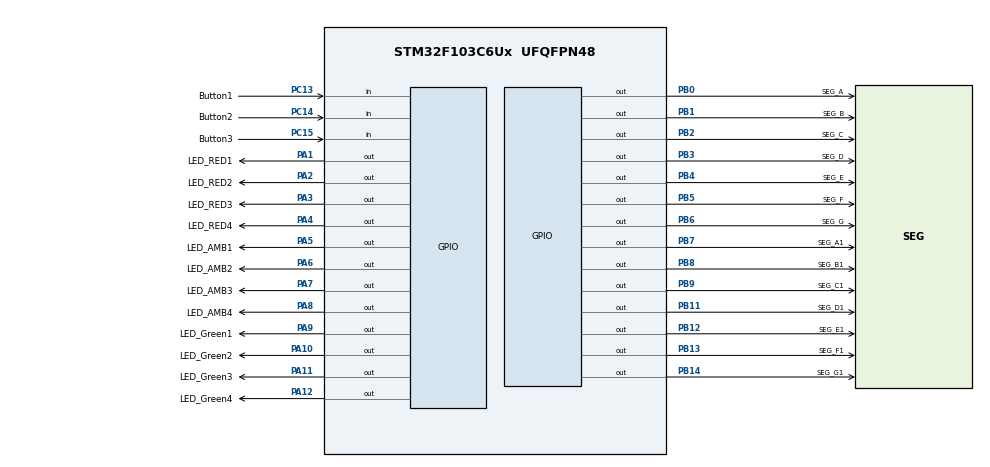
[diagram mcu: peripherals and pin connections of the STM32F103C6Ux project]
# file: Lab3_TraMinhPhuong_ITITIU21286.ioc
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Mcu.Family=STM32F1
Mcu.Name=STM32F103C6Ux
Mcu.Package=UFQFPN48
NVIC.PriorityGroup=NVIC_PRIORITYGROUP_4
NVIC.TIM2_IRQn=true\:0\:0\:false\:false\:true\:true\:true\:true
PA1.GPIO_Label=LED_RED1
PA1.Signal=GPIO_Output
PA10.GPIO_Label=LED_Green2
PA10.Signal=GPIO_Output
PA11.GPIO_Label=LED_Green3
PA11.Signal=GPIO_Output
PA12.GPIO_Label=LED_Green4
PA12.Signal=GPIO_Output
PA2.GPIO_Label=LED_RED2
PA2.Signal=GPIO_Output
PA3.GPIO_Label=LED_RED3
PA3.Signal=GPIO_Output
PA4.GPIO_Label=LED_RED4
PA4.Signal=GPIO_Output
PA5.GPIO_Label=LED_AMB1
PA5.Signal=GPIO_Output
PA6.GPIO_Label=LED_AMB2
PA6.Signal=GPIO_Output
PA7.GPIO_Label=LED_AMB3
PA7.Signal=GPIO_Output
PA8.GPIO_Label=LED_AMB4
PA8.Signal=GPIO_Output
PA9.GPIO_Label=LED_Green1
PA9.Signal=GPIO_Output
PB0.GPIO_Label=SEG_A
PB0.Signal=GPIO_Output
PB1.GPIO_Label=SEG_B
PB1.Signal=GPIO_Output
PB11.GPIO_Label=SEG_D1
PB11.Signal=GPIO_Output
PB12.GPIO_Label=SEG_E1
PB12.Signal=GPIO_Output
PB13.GPIO_Label=SEG_F1
PB13.Signal=GPIO_Output
PB14.GPIO_Label=SEG_G1
PB14.Signal=GPIO_Output
PB2.GPIO_Label=SEG_C
PB2.Signal=GPIO_Output
PB3.GPIO_Label=SEG_D
PB3.Signal=GPIO_Output
PB4.GPIO_Label=SEG_E
PB4.Signal=GPIO_Output
PB5.GPIO_Label=SEG_F
PB5.Signal=GPIO_Output
PB6.GPIO_Label=SEG_G
PB6.Signal=GPIO_Output
PB7.GPIO_Label=SEG_A1
PB7.Signal=GPIO_Output
PB8.GPIO_Label=SEG_B1
PB8.Signal=GPIO_Output
PB9.GPIO_Label=SEG_C1
PB9.Signal=GPIO_Output
PC13-TAMPER-RTC.GPIO_Label=Button1
PC13-TAMPER-RTC.GPIO_PuPd=GPIO_PULLUP
PC13-TAMPER-RTC.Signal=GPIO_Input
PC14-OSC32_IN.GPIO_Label=Button2
PC14-OSC32_IN.GPIO_PuPd=GPIO_PULLUP
PC14-OSC32_IN.Signal=GPIO_Input
PC15-OSC32_OUT.GPIO_Label=Button3
PC15-OSC32_OUT.GPIO_PuPd=GPIO_PULLUP
PC15-OSC32_OUT.Signal=GPIO_Input
ProjectManager.HeapSize=0x200
ProjectManager.StackSize=0x400
ProjectManager.TargetToolchain=STM32CubeIDE
RCC.APB1Freq_Value=8000000
RCC.APB2Freq_Value=8000000
TIM2.Period=9
TIM2.Prescaler=7999
VP_SYS_VS_ND.Mode=No_Debug
VP_TIM2_VS_ClockSourceINT.Mode=Internal
board=custom

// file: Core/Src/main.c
/* USER CODE BEGIN Header */
/**
  ******************************************************************************
  * @file           : main.c
  * @brief          : Main program body
  ******************************************************************************
  * @attention
  *
  * Copyright (c) 2024 STMicroelectronics.
  * All rights reserved.
  *
  * This software is licensed under terms that can be found in the LICENSE file
  * in the root directory of this software component.
  * If no LICENSE file comes with this software, it is provided AS-IS.
  *
  ******************************************************************************
  */
/* USER CODE END Header */
#include "main.h"

/* USER CODE BEGIN Includes */
#include "software_timer.h"
#include "Button.h"
/* USER CODE END Includes */

TIM_HandleTypeDef htim2;

void SystemClock_Config(void);
static void MX_GPIO_Init(void);
static void MX_TIM2_Init(void);
/* USER CODE BEGIN PFP */
const int digitConfig[][7] = {
        // A, B, C, D, E, F, G, DP
        {1, 1, 1, 1, 1, 1, 0}, // 0
        {0, 1, 1, 0, 0, 0, 0}, // 1
        {1, 1, 0, 1, 1, 0, 1}, // 2
        {1, 1, 1, 1, 0, 0, 1}, // 3
        {0, 1, 1, 0, 0, 1, 1}, // 4
        {1, 0, 1, 1, 0, 1, 1}, // 5
        {1, 0, 1, 1, 1, 1, 1}, // 6
        {1, 1, 1, 0, 0, 0, 0}, // 7
        {1, 1, 1, 1, 1, 1, 1}, // 8
        {1, 1, 1, 1, 0, 1, 1}  // 9
    };
typedef enum
{
  STATE_1,
  STATE_2,
  STATE_3,
  STATE_4
} TrafficLightState;
int state_7SEG = 0;
int state2_7SEG = 0;

/* USER CODE END PFP */

int main(void)
{

  /* MCU Configuration--------------------------------------------------------*/

  /* Reset of all peripherals, Initializes the Flash interface and the Systick. */
  HAL_Init();

  /* Configure the system clock */
  SystemClock_Config();

  /* Initialize all configured peripherals */
  MX_GPIO_Init();
  MX_TIM2_Init();
  /* USER CODE BEGIN 2 */
  HAL_TIM_Base_Start_IT (& htim2 ) ;
  /* USER CODE END 2 */

  /* Infinite loop */
  /* USER CODE BEGIN WHILE */
  int count_StateButton1 = 0;
  int count = 0;
  int time_LEDRED = 5;
  int time_LEDAMB = 3;
  int time_LEDGREEN = 2;
  setTimer0(50);
  setTimer1(50);
  setTimer2(50);
  int GREEN_total = 0;
  int AMB_total = 0;
  int RED_total = 0;
  int state_GREEN = 0;
  int state_AMB = 0;
  int state_RED = 0;
  display7SEG1(0);
  display7SEG2(0);
  setAllLED();
  int counter = 0;
  int counter2 = 0;
  setTimer_RED(100);
  setTimerState(100);
  setTimerSwitch(50);
  TrafficLightState state = STATE_1;
  while (1)
  {
    /* USER CODE END WHILE */
	  if (button1_flag ==1) {
		  if( button1_flag != button1_flagRelease && button1_flagRelease == 0) {
			  count_StateButton1 ++;
			  setAllLED();
			  if(count_StateButton1 > 4) {
				  count_StateButton1 = 1;
			  }
		  }
		  state_7SEG = 0;
		  state2_7SEG = 0;
		  display7SEG1(count_StateButton1);
		  button1_flagRelease = button1_flag ;
		  button1_flag = 0 ;
		  count = 0;
		  if(count_StateButton1 == 1) {
			  counter = -1;
			  counter2 = -1;
		  }
	  }
	  if(count_StateButton1 == 1) {
		    switch (state)
		    {
		    case STATE_1:
		      if (counter <= 0 && counter2 <= 0)
		      {
		    	  setAllLED();
		        HAL_GPIO_WritePin(GPIOA, LED_Green1_Pin | LED_Green3_Pin | LED_RED2_Pin | LED_RED4_Pin, GPIO_PIN_RESET);
		        state = STATE_2;
		        counter2 = time_LEDGREEN;
		        counter = time_LEDRED;
		      }
		      break;

		    case STATE_2:
		      if (counter <= 0 || counter2 <= 0)
		      {
		    	  setAllLED();
		        HAL_GPIO_WritePin(GPIOA, LED_AMB1_Pin | LED_AMB3_Pin | LED_RED2_Pin | LED_RED4_Pin, GPIO_PIN_RESET);

		        state = STATE_3;
		        counter2 = time_LEDAMB;
		      }
		      break;

		    case STATE_3:
		      if (counter <= 0 && counter2 <= 0)
		      {
		    	  setAllLED();
		        HAL_GPIO_WritePin(GPIOA, LED_Green4_Pin | LED_Green2_Pin | LED_RED3_Pin | LED_RED1_Pin, GPIO_PIN_RESET);

		        state = STATE_4;
		        counter = time_LEDGREEN;
		        counter2 = time_LEDRED;
		      }
		      break;

		    case STATE_4:
		      if (counter2 <= 0 || counter <= 0)
		      {
		    	  setAllLED();
		        HAL_GPIO_WritePin(GPIOA, LED_AMB2_Pin | LED_AMB4_Pin | LED_RED3_Pin | LED_RED1_Pin, GPIO_PIN_RESET);

		        state = STATE_1;
		        counter = time_LEDAMB;
		      }
		      break;
		    }
		    display7SEG1(counter);
		    display7SEG2(counter2);

		    if(timerState_flag == 1){
			    counter--;
			    counter2--;
			    setTimerState(100);
		    }
		    if (counter < 0)
		    {
		      counter = 0;
		    }
		    if (counter2 < 0)
		    {
		      counter2 = 0;
		    }
	  }
	  if (count_StateButton1 == 2) {
	  	  	  if (timer0_flag == 1) {
	  	  			  HAL_GPIO_TogglePin(LED_RED1_GPIO_Port, LED_RED1_Pin) ;
	  	  			  HAL_GPIO_TogglePin(LED_RED2_GPIO_Port, LED_RED2_Pin) ;
	  	  			  HAL_GPIO_TogglePin(LED_RED3_GPIO_Port, LED_RED3_Pin) ;
	  	  			  HAL_GPIO_TogglePin(LED_RED4_GPIO_Port, LED_RED4_Pin) ;
	  	  			  setTimer0(50) ;
	  	  		  }
	  	  		  if (button2_flag == 1) {
	  	  			  button2_flag = 0;
	  	  			  count += 1;
	  	  			  state_RED = 0;
	  	  		  }
		  		  RED_total = time_LEDRED+ count ;
  		  		  if(RED_total >= 100) {
  		  			time_LEDRED = 0;
  		  			count = 0;
  		  		  }
		  			  if (RED_total > 9 && RED_total <= 99) {
		  				  if(timerRED_flag == 1){
	  		  				if(state_RED == 0){
	  		  				    display7SEG2(RED_total / 10);
	  		  				    state_RED = 1;
	  		  				}
	  		  				else{
							display7SEG2(RED_total % 10);
							state_RED = 0;
						}
	  		  			    setTimer_RED(50);
		  				  }
		  			  }
		  			  if(RED_total <= 9){
		  			       display7SEG2(RED_total) ;
		  			  }

	  	  		 if (button3_flag == 1) {
	  	  			  if( button3_flag != button3_flagRelease && button3_flagRelease == 0) {
	  	 	  			 time_LEDRED = time_LEDRED + count ;
	  	 	  			 count = 0;
	  	  			  }
	  	  			  button3_flagRelease = button3_flag ;
	  	  			  button3_flag = 0;
	  	  		 }
	  	  	  }
	  	  	 if (count_StateButton1 == 3) {
	  	  			  if (timer2_flag == 1) {
	  	  				  HAL_GPIO_TogglePin(LED_AMB1_GPIO_Port, LED_AMB1_Pin) ;
	  	  				  HAL_GPIO_TogglePin(LED_AMB2_GPIO_Port, LED_AMB2_Pin) ;
	  	  				  HAL_GPIO_TogglePin(LED_AMB3_GPIO_Port, LED_AMB3_Pin) ;
	  	  				  HAL_GPIO_TogglePin(LED_AMB4_GPIO_Port, LED_AMB4_Pin) ;
	  	  				  setTimer2(50) ;
	  	  			  }
	  		  		  if (button2_flag == 1) {
	  		  			  button2_flag = 0;
	  		  			  count += 1;
	  		  			  state_AMB == 0;
	  		  		  }
	  		  			  AMB_total = time_LEDAMB+ count ;
		  		  		  if(AMB_total >= 100) {
		  		  			time_LEDAMB = 0;
		  		  			count = 0;
		  		  		  }
	  		  			  if (AMB_total > 9 && AMB_total <= 99) {
	  		  				  if(timerAMB_flag == 1){
	  	  		  				if(state_AMB == 0){
	  	  		  				    display7SEG2(AMB_total / 10);
	  	  		  				    state_AMB = 1;
	  	  		  				}
	  	  		  				else{
									display7SEG2(AMB_total % 10);
									state_AMB = 0;
								}
	  	  		  			    setTimer_AMB(50);
	  		  				  }
	  		  			  }
	  		  			  if(AMB_total <= 9){
	  		  			       display7SEG2(AMB_total) ;
	  		  			  }

	  		  		 if (button3_flag == 1) {
	  		  			  if( button3_flag != button3_flagRelease && button3_flagRelease == 0) {
	  		 	  			 time_LEDAMB = time_LEDAMB + count ;
	  		 	  			 count = 0;
	  		  			  }
	  		  			  button3_flagRelease = button3_flag ;
	  		  			  button3_flag = 0;
	  		  		 }
	  	  		  }
	  	  	 if (count_StateButton1 == 4) {
	  	  			  if (timer1_flag == 1) {
	  	  				  HAL_GPIO_TogglePin(LED_Green1_GPIO_Port, LED_Green1_Pin) ;
	  	  				  HAL_GPIO_TogglePin(LED_Green2_GPIO_Port, LED_Green2_Pin) ;
	  	  				  HAL_GPIO_TogglePin(LED_Green3_GPIO_Port, LED_Green3_Pin) ;
	  	  				  HAL_GPIO_TogglePin(LED_Green4_GPIO_Port, LED_Green4_Pin) ;
	  	  				  setTimer1(50) ;
	  	  			  }
	  		  		  if (button2_flag == 1) {
	  		  			  button2_flag = 0;
	  		  			  count += 1;
	  		  			  state_GREEN == 0;
	  		  		  }
	  		  		  GREEN_total = time_LEDGREEN + count ;
	  		  		  if(GREEN_total >= 100) {
	  		  			time_LEDGREEN = 0;
	  		  			count = 0;
	  		  		  }
					  if(GREEN_total > 9 && GREEN_total <= 99) {
						  if(timerGREEN_flag == 1){
								if(state_GREEN == 0){
									display7SEG2(GREEN_total / 10);
									state_GREEN = 1;
								}
								else{
									display7SEG2(GREEN_total % 10);
									state_GREEN = 0;
								}
							setTimer_GREEN(50);
						  }
					  }
					  if(GREEN_total <= 9){
						   display7SEG2(GREEN_total) ;
					  }

			          if (button3_flag == 1) {
					       if( button3_flag != button3_flagRelease && button3_flagRelease == 0) {
						        time_LEDGREEN = time_LEDGREEN + count ;
						        count = 0;
					        }
					  button3_flagRelease = button3_flag ;
					  button3_flag = 0;
				 }
			  }
  }
}

void SystemClock_Config(void)
{
  RCC_OscInitTypeDef RCC_OscInitStruct = {0};
  RCC_ClkInitTypeDef RCC_ClkInitStruct = {0};

  /** Initializes the RCC Oscillators according to the specified parameters
  * in the RCC_OscInitTypeDef structure.
  */
  RCC_OscInitStruct.OscillatorType = RCC_OSCILLATORTYPE_HSI;
  RCC_OscInitStruct.HSIState = RCC_HSI_ON;
  RCC_OscInitStruct.HSICalibrationValue = RCC_HSICALIBRATION_DEFAULT;
  RCC_OscInitStruct.PLL.PLLState = RCC_PLL_NONE;
  if (HAL_RCC_OscConfig(&RCC_OscInitStruct) != HAL_OK)
  {
    Error_Handler();
  }

  /** Initializes the CPU, AHB and APB buses clocks
  */
  RCC_ClkInitStruct.ClockType = RCC_CLOCKTYPE_HCLK|RCC_CLOCKTYPE_SYSCLK
                              |RCC_CLOCKTYPE_PCLK1|RCC_CLOCKTYPE_PCLK2;
  RCC_ClkInitStruct.SYSCLKSource = RCC_SYSCLKSOURCE_HSI;
  RCC_ClkInitStruct.AHBCLKDivider = RCC_SYSCLK_DIV1;
  RCC_ClkInitStruct.APB1CLKDivider = RCC_HCLK_DIV1;
  RCC_ClkInitStruct.APB2CLKDivider = RCC_HCLK_DIV1;

  if (HAL_RCC_ClockConfig(&RCC_ClkInitStruct, FLASH_LATENCY_0) != HAL_OK)
  {
    Error_Handler();
  }
}

static void MX_TIM2_Init(void)
{

  TIM_ClockConfigTypeDef sClockSourceConfig = {0};
  TIM_MasterConfigTypeDef sMasterConfig = {0};

  htim2.Instance = TIM2;
  htim2.Init.Prescaler = 7999;
  htim2.Init.CounterMode = TIM_COUNTERMODE_UP;
  htim2.Init.Period = 9;
  htim2.Init.ClockDivision = TIM_CLOCKDIVISION_DIV1;
  htim2.Init.AutoReloadPreload = TIM_AUTORELOAD_PRELOAD_DISABLE;
  if (HAL_TIM_Base_Init(&htim2) != HAL_OK)
  {
    Error_Handler();
  }
  sClockSourceConfig.ClockSource = TIM_CLOCKSOURCE_INTERNAL;
  if (HAL_TIM_ConfigClockSource(&htim2, &sClockSourceConfig) != HAL_OK)
  {
    Error_Handler();
  }
  sMasterConfig.MasterOutputTrigger = TIM_TRGO_RESET;
  sMasterConfig.MasterSlaveMode = TIM_MASTERSLAVEMODE_DISABLE;
  if (HAL_TIMEx_MasterConfigSynchronization(&htim2, &sMasterConfig) != HAL_OK)
  {
    Error_Handler();
  }

}

static void MX_GPIO_Init(void)
{
  GPIO_InitTypeDef GPIO_InitStruct = {0};

  /* GPIO Ports Clock Enable */
  __HAL_RCC_GPIOC_CLK_ENABLE();
  __HAL_RCC_GPIOA_CLK_ENABLE();
  __HAL_RCC_GPIOB_CLK_ENABLE();

  /*Configure GPIO pin Output Level */
  HAL_GPIO_WritePin(GPIOA, LED_RED1_Pin|LED_RED2_Pin|LED_RED3_Pin|LED_RED4_Pin
                          |LED_AMB1_Pin|LED_AMB2_Pin|LED_AMB3_Pin|LED_AMB4_Pin
                          |LED_Green1_Pin|LED_Green2_Pin|LED_Green3_Pin|LED_Green4_Pin, GPIO_PIN_RESET);

  /*Configure GPIO pin Output Level */
  HAL_GPIO_WritePin(GPIOB, SEG_A_Pin|SEG_B_Pin|SEG_C_Pin|SEG_D1_Pin
                          |SEG_E1_Pin|SEG_F1_Pin|SEG_G1_Pin|SEG_D_Pin
                          |SEG_E_Pin|SEG_F_Pin|SEG_G_Pin|SEG_A1_Pin
                          |SEG_B1_Pin|SEG_C1_Pin, GPIO_PIN_RESET);

  /*Configure GPIO pins : Button1_Pin Button2_Pin Button3_Pin */
  GPIO_InitStruct.Pin = Button1_Pin|Button2_Pin|Button3_Pin;
  GPIO_InitStruct.Mode = GPIO_MODE_INPUT;
  GPIO_InitStruct.Pull = GPIO_PULLUP;
  HAL_GPIO_Init(GPIOC, &GPIO_InitStruct);

  /*Configure GPIO pins : LED_RED1_Pin LED_RED2_Pin LED_RED3_Pin LED_RED4_Pin
                           LED_AMB1_Pin LED_AMB2_Pin LED_AMB3_Pin LED_AMB4_Pin
                           LED_Green1_Pin LED_Green2_Pin LED_Green3_Pin LED_Green4_Pin */
  GPIO_InitStruct.Pin = LED_RED1_Pin|LED_RED2_Pin|LED_RED3_Pin|LED_RED4_Pin
                          |LED_AMB1_Pin|LED_AMB2_Pin|LED_AMB3_Pin|LED_AMB4_Pin
                          |LED_Green1_Pin|LED_Green2_Pin|LED_Green3_Pin|LED_Green4_Pin;
  GPIO_InitStruct.Mode = GPIO_MODE_OUTPUT_PP;
  GPIO_InitStruct.Pull = GPIO_NOPULL;
  GPIO_InitStruct.Speed = GPIO_SPEED_FREQ_LOW;
  HAL_GPIO_Init(GPIOA, &GPIO_InitStruct);

  /*Configure GPIO pins : SEG_A_Pin SEG_B_Pin SEG_C_Pin SEG_D1_Pin
                           SEG_E1_Pin SEG_F1_Pin SEG_G1_Pin SEG_D_Pin
                           SEG_E_Pin SEG_F_Pin SEG_G_Pin SEG_A1_Pin
                           SEG_B1_Pin SEG_C1_Pin */
  GPIO_InitStruct.Pin = SEG_A_Pin|SEG_B_Pin|SEG_C_Pin|SEG_D1_Pin
                          |SEG_E1_Pin|SEG_F1_Pin|SEG_G1_Pin|SEG_D_Pin
                          |SEG_E_Pin|SEG_F_Pin|SEG_G_Pin|SEG_A1_Pin
                          |SEG_B1_Pin|SEG_C1_Pin;
  GPIO_InitStruct.Mode = GPIO_MODE_OUTPUT_PP;
  GPIO_InitStruct.Pull = GPIO_NOPULL;
  GPIO_InitStruct.Speed = GPIO_SPEED_FREQ_LOW;
  HAL_GPIO_Init(GPIOB, &GPIO_InitStruct);

}

/* USER CODE BEGIN 4 */
void setAllLED() {
	  HAL_GPIO_WritePin(LED_RED1_GPIO_Port, LED_RED1_Pin, SET) ;
	  HAL_GPIO_WritePin(LED_RED2_GPIO_Port, LED_RED2_Pin, SET) ;
	  HAL_GPIO_WritePin(LED_RED3_GPIO_Port, LED_RED3_Pin, SET) ;
	  HAL_GPIO_WritePin(LED_RED4_GPIO_Port, LED_RED4_Pin, SET) ;
	  HAL_GPIO_WritePin(LED_AMB1_GPIO_Port, LED_AMB1_Pin, SET) ;
	  HAL_GPIO_WritePin(LED_AMB2_GPIO_Port, LED_AMB2_Pin, SET) ;
	  HAL_GPIO_WritePin(LED_AMB3_GPIO_Port, LED_AMB3_Pin, SET) ;
	  HAL_GPIO_WritePin(LED_AMB4_GPIO_Port, LED_AMB4_Pin, SET) ;
	  HAL_GPIO_WritePin(LED_Green1_GPIO_Port, LED_Green1_Pin, SET) ;
	  HAL_GPIO_WritePin(LED_Green2_GPIO_Port, LED_Green2_Pin, SET) ;
	  HAL_GPIO_WritePin(LED_Green3_GPIO_Port, LED_Green3_Pin, SET) ;
	  HAL_GPIO_WritePin(LED_Green4_GPIO_Port, LED_Green4_Pin, SET) ;
}
void display7SEG1(int num) {

	    if (num > 9 || num < 0) {
	    	return;
        }

	    	const int *config = digitConfig[num];

	 HAL_GPIO_WritePin(SEG_A_GPIO_Port, SEG_A_Pin, config[0] ? GPIO_PIN_RESET : GPIO_PIN_SET);
	 HAL_GPIO_WritePin(SEG_B_GPIO_Port, SEG_B_Pin, config[1] ? GPIO_PIN_RESET : GPIO_PIN_SET);
	 HAL_GPIO_WritePin(SEG_C_GPIO_Port, SEG_C_Pin, config[2] ? GPIO_PIN_RESET : GPIO_PIN_SET);
	 HAL_GPIO_WritePin(SEG_D_GPIO_Port, SEG_D_Pin, config[3] ? GPIO_PIN_RESET : GPIO_PIN_SET);
	 HAL_GPIO_WritePin(SEG_E_GPIO_Port, SEG_E_Pin, config[4] ? GPIO_PIN_RESET : GPIO_PIN_SET);
	 HAL_GPIO_WritePin(SEG_F_GPIO_Port, SEG_F_Pin, config[5] ? GPIO_PIN_RESET : GPIO_PIN_SET);
	 HAL_GPIO_WritePin(SEG_G_GPIO_Port, SEG_G_Pin, config[6] ? GPIO_PIN_RESET : GPIO_PIN_SET);
}
void display7SEG2(int num) {

	    if (num > 9 || num < 0) {
	    	return;
     }

	    	const int *config = digitConfig[num];
	 HAL_GPIO_WritePin(SEG_A1_GPIO_Port, SEG_A1_Pin, config[0] ? GPIO_PIN_RESET : GPIO_PIN_SET);
	 HAL_GPIO_WritePin(SEG_B1_GPIO_Port, SEG_B1_Pin, config[1] ? GPIO_PIN_RESET : GPIO_PIN_SET);
	 HAL_GPIO_WritePin(SEG_C1_GPIO_Port, SEG_C1_Pin, config[2] ? GPIO_PIN_RESET : GPIO_PIN_SET);
	 HAL_GPIO_WritePin(SEG_D1_GPIO_Port, SEG_D1_Pin, config[3] ? GPIO_PIN_RESET : GPIO_PIN_SET);
	 HAL_GPIO_WritePin(SEG_E1_GPIO_Port, SEG_E1_Pin, config[4] ? GPIO_PIN_RESET : GPIO_PIN_SET);
	 HAL_GPIO_WritePin(SEG_F1_GPIO_Port, SEG_F1_Pin, config[5] ? GPIO_PIN_RESET : GPIO_PIN_SET);
	 HAL_GPIO_WritePin(SEG_G1_GPIO_Port, SEG_G1_Pin, config[6] ? GPIO_PIN_RESET : GPIO_PIN_SET);

}
void HAL_TIM_PeriodElapsedCallback ( TIM_HandleTypeDef * htim )
{
    timerRun();
    getKeyInput();

}
/* USER CODE END 4 */

void Error_Handler(void)
{
  __disable_irq();
  while (1)
  {
  }
}
